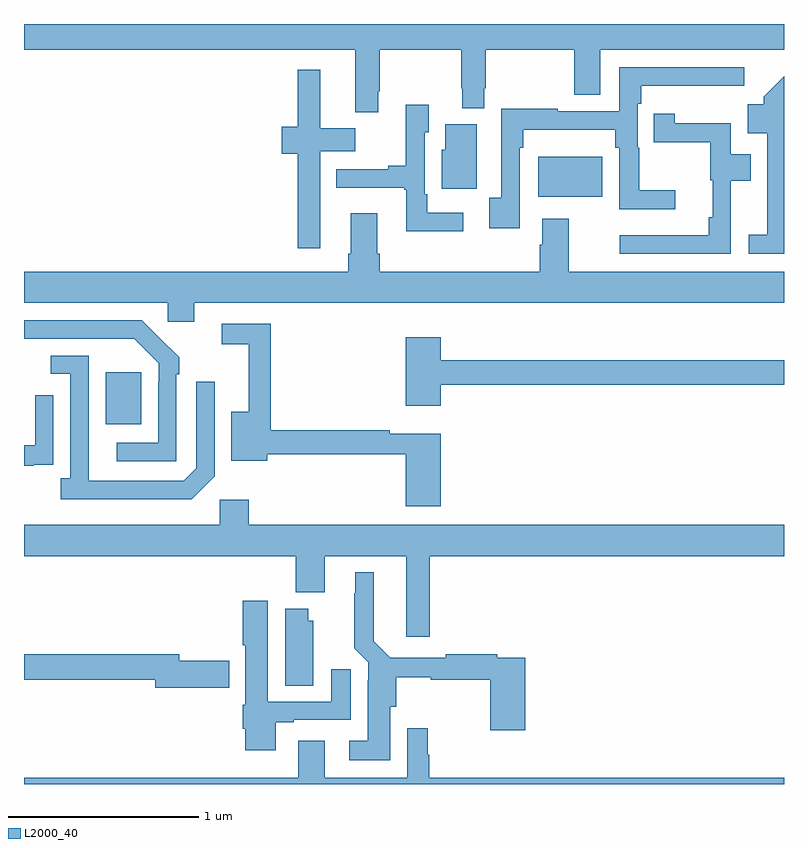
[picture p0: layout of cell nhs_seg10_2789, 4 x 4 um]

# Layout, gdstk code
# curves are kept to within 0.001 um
import gdstk
lib = gdstk.Library(unit=1e-6, precision=1e-09)
def R(c, l, rs):  # rectangles x0, y0, x1, y1
    for r in rs: c.add(gdstk.rectangle(r[:2], r[2:], *l))
def P(c, l, *ps):  # polygons
    for p in ps: c.add(gdstk.Polygon(p, *l))
L2000_40 = (2000, 40)

nhs_seg10_2789 = lib.new_cell('nhs_seg10_2789')
R(nhs_seg10_2789, L2000_40, [(263.429,1250.393,263.617,1250.668), (265.706,1251.59,266.044,1251.802)])
P(nhs_seg10_2789, L2000_40, [(264.865,1252.147),(264.873,1252.147),(264.873,1252.364),(265.3,1252.364),(265.3,1252.162),(265.307,1252.162),(265.307,1252.057),(265.423,1252.057),(265.423,1252.162),(265.431,1252.162),(265.431,1252.364),(265.897,1252.364),(265.897,1252.128),(266.032,1252.128),(266.032,1252.364),(267,1252.364),(267,1252.5),(263,1252.5),(263,1252.364),(264.743,1252.364),(264.743,1252.035),(264.865,1252.035)],
  [(265.608,1251.848),(265.628,1251.848),(265.628,1251.944),(266.113,1251.944),(266.113,1251.848),(266.133,1251.848),(266.133,1251.524),(266.428,1251.524),(266.428,1251.624),(266.239,1251.624),(266.239,1251.848),(266.229,1251.848),(266.229,1252.079),(266.249,1252.079),(266.249,1252.175),(266.791,1252.175),(266.791,1252.272),(266.133,1252.272),(266.133,1252.041),(265.808,1252.041),(265.808,1252.054),(265.512,1252.054),(265.512,1251.585),(265.449,1251.585),(265.449,1251.426),(265.608,1251.426)],
  [(264.559,1251.587),(264.558,1251.587),(264.558,1251.83),(264.743,1251.83),(264.743,1251.952),(264.56,1251.952),(264.56,1252.258),(264.442,1252.258),(264.442,1251.96),(264.356,1251.96),(264.356,1251.818),(264.442,1251.818),(264.442,1251.321),(264.559,1251.321)],
  [(267,1252.224),(266.893,1252.117),(266.893,1252.078),(266.81,1252.078),(266.81,1251.926),(266.913,1251.926),(266.913,1251.392),(266.814,1251.392),(266.814,1251.291),(267,1251.291)],
  [(265.312,1251.507),(265.123,1251.507),(265.123,1251.604),(265.11,1251.604),(265.11,1251.93),(265.129,1251.93),(265.129,1252.075),(265.009,1252.075),(265.009,1251.755),(264.917,1251.755),(264.917,1251.735),(264.643,1251.735),(264.643,1251.638),(265.002,1251.638),(265.002,1251.627),(265.013,1251.627),(265.013,1251.41),(265.312,1251.41)],
  [(266.721,1251.674),(266.824,1251.674),(266.824,1251.814),(266.721,1251.814),(266.721,1251.977),(266.425,1251.977),(266.425,1252.027),(266.314,1252.027),(266.314,1251.878),(266.613,1251.878),(266.613,1251.678),(266.624,1251.678),(266.624,1251.484),(266.605,1251.484),(266.605,1251.388),(266.136,1251.388),(266.136,1251.291),(266.721,1251.291)],
  [(265.383,1251.736),(265.384,1251.736),(265.384,1251.972),(265.217,1251.972),(265.217,1251.837),(265.199,1251.837),(265.199,1251.633),(265.383,1251.633)],
  [(263.896,1251.032),(267,1251.032),(267,1251.196),(265.867,1251.196),(265.867,1251.475),(265.727,1251.475),(265.727,1251.338),(265.715,1251.338),(265.715,1251.196),(264.872,1251.196),(264.872,1251.292),(264.859,1251.292),(264.859,1251.505),(264.719,1251.505),(264.719,1251.292),(264.707,1251.292),(264.707,1251.196),(263,1251.196),(263,1251.032),(263.757,1251.032),(263.757,1250.934),(263.896,1250.934)],
  [(263.802,1250.657),(263.817,1250.657),(263.817,1250.745),(263.62,1250.94),(263,1250.94),(263,1250.844),(263.581,1250.844),(263.709,1250.715),(263.709,1250.615),(263.706,1250.615),(263.706,1250.295),(263.487,1250.295),(263.487,1250.199),(263.802,1250.199)],
  [(265.193,1250.344),(264.926,1250.344),(264.926,1250.363),(264.299,1250.363),(264.299,1250.922),(264.042,1250.922),(264.042,1250.814),(264.182,1250.814),(264.182,1250.458),(264.092,1250.458),(264.092,1250.201),(264.28,1250.201),(264.28,1250.235),(265.01,1250.235),(265.01,1249.962),(265.193,1249.962)],
  [(265.193,1250.602),(267,1250.602),(267,1250.731),(265.193,1250.731),(265.193,1250.851),(265.01,1250.851),(265.01,1250.49),(265.193,1250.49)],
  [(264.003,1250.121),(264.003,1250.617),(263.907,1250.617),(263.907,1250.163),(263.841,1250.097),(263.341,1250.097),(263.34,1250.754),(263.142,1250.754),(263.142,1250.658),(263.244,1250.658),(263.244,1250.11),(263.193,1250.11),(263.193,1250),(263.882,1250)],
  [(263.051,1250.181),(263.153,1250.181),(263.153,1250.29),(263.154,1250.29),(263.154,1250.545),(263.058,1250.545),(263.058,1250.283),(263,1250.283),(263,1250.175),(263.051,1250.175)],
  [(265.136,1249.7),(267,1249.7),(267,1249.864),(264.182,1249.864),(264.182,1249.996),(264.03,1249.996),(264.03,1249.864),(263,1249.864),(263,1249.7),(264.431,1249.7),(264.431,1249.508),(264.583,1249.508),(264.583,1249.7),(265.013,1249.7),(265.013,1249.275),(265.136,1249.275)],
  [(264.928,1248.906),(264.959,1248.906),(264.959,1249.063),(265.142,1249.063),(265.142,1249.048),(265.454,1249.048),(265.454,1248.783),(265.637,1248.783),(265.637,1249.164),(265.49,1249.164),(265.49,1249.184),(265.219,1249.184),(265.219,1249.164),(264.928,1249.164),(264.841,1249.252),(264.841,1249.615),(264.743,1249.615),(264.743,1249.505),(264.739,1249.505),(264.739,1249.214),(264.813,1249.14),(264.813,1249.046),(264.809,1249.046),(264.809,1248.727),(264.711,1248.727),(264.711,1248.626),(264.928,1248.626)],
  [(264.325,1248.825),(264.421,1248.825),(264.421,1248.837),(264.721,1248.837),(264.721,1249.105),(264.617,1249.105),(264.617,1248.933),(264.283,1248.933),(264.283,1249.465),(264.152,1249.465),(264.152,1249.231),(264.164,1249.231),(264.164,1248.917),(264.152,1248.917),(264.152,1248.79),(264.164,1248.79),(264.164,1248.678),(264.325,1248.678)],
  [(264.523,1249.359),(264.496,1249.359),(264.496,1249.423),(264.374,1249.423),(264.374,1249.018),(264.523,1249.018)],
  [(264.079,1249.148),(263.818,1249.148),(263.818,1249.184),(263,1249.184),(263,1249.048),(263.69,1249.048),(263.69,1249.006),(264.079,1249.006)],
  [(267,1248.532),(265.133,1248.532),(265.133,1248.654),(265.126,1248.654),(265.126,1248.793),(265.017,1248.793),(265.017,1248.532),(264.583,1248.532),(264.583,1248.727),(264.443,1248.727),(264.443,1248.532),(263,1248.532),(263,1248.5),(267,1248.5)])

lib.write_gds('nhs_seg10_2789.gds')
